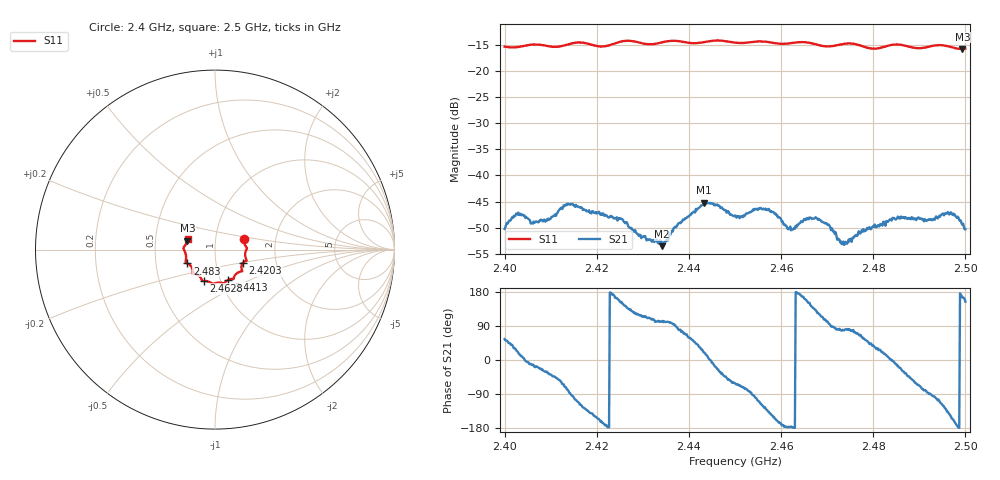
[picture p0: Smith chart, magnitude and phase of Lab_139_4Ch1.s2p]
# Hz S RI R 50
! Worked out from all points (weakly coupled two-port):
!   601 points, 2.4 GHz to 2.5 GHz, reference 50 ohm
!   highest |S21| = -45.17 dB at 2.4433 GHz (marker M1); lowest = -53.5 dB at 2.4342 GHz (marker M2)
!   lowest |S11| = -15.8 dB at 2.4993 GHz (marker M3), VSWR 1.39, Z = 36.5 + j3.71 ohm
!   |S11| at or under -10 dB: start of sweep to end of sweep
!   S12 and S22 are empty: the file has one direction only
!   S11 on the Smith chart (normalised r, x): 2.4 GHz: 1.37, +0.16; 2.4203 GHz: 1.35, -0.21; 2.4413 GHz: 1.09, -0.38; 2.4628 GHz: 0.83, -0.30; 2.483 GHz: 0.72, -0.11; 2.5 GHz: 0.73, +0.09
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2.4e9  0.1608 0.057  0.00177 0.00253  0 0  0 0
2.403e9  0.1672 0.0254  0.00419 0.00142  0 0  0 0
2.406167e9  0.178 0.00956  0.00339 -0.000726  0 0  0 0
2.409333e9  0.1725 -0.00444  0.00312 -0.00203  0 0  0 0
2.413333e9  0.1706 -0.0458  0.00159 -0.00504  0 0  0 0
2.416667e9  0.1761 -0.0615  -0.0024 -0.00434  0 0  0 0
2.420333e9  0.155 -0.0738  -0.00403 -0.00184  0 0  0 0
2.433333e9  0.1079 -0.1485  -0.000525 0.00218  0 0  0 0
2.434167e9  0.1058 -0.1545  -0.000404 0.00207  0 0  0 0
2.441333e9  0.0742 -0.168  0.00306 0.00321  0 0  0 0
2.443333e9  0.0591 -0.1785  0.0052 0.00184  0 0  0 0
2.45e9  0.0292 -0.1837  0.00197 -0.00366  0 0  0 0
2.456833e9  -0.0159 -0.1888  -0.00309 -0.00354  0 0  0 0
2.462833e9  -0.063 -0.1748  -0.00315 -0.000144  0 0  0 0
2.466667e9  -0.0742 -0.1677  -0.00298 0.00243  0 0  0 0
2.470167e9  -0.0942 -0.1426  -0.000609 0.00331  0 0  0 0
2.473667e9  -0.1219 -0.1342  0.000442 0.00212  0 0  0 0
2.483e9  -0.1549 -0.0769  0.0036 0.000672  0 0  0 0
2.483333e9  -0.1571 -0.0759  0.00366 0.000413  0 0  0 0
2.496333e9  -0.1703 0.0182  -0.00328 -0.00279  0 0  0 0
2.499333e9  -0.154 0.0495  -0.00327 0.000887  0 0  0 0
2.5e9  -0.1526 0.0585  -0.00276 0.00135  0 0  0 0
